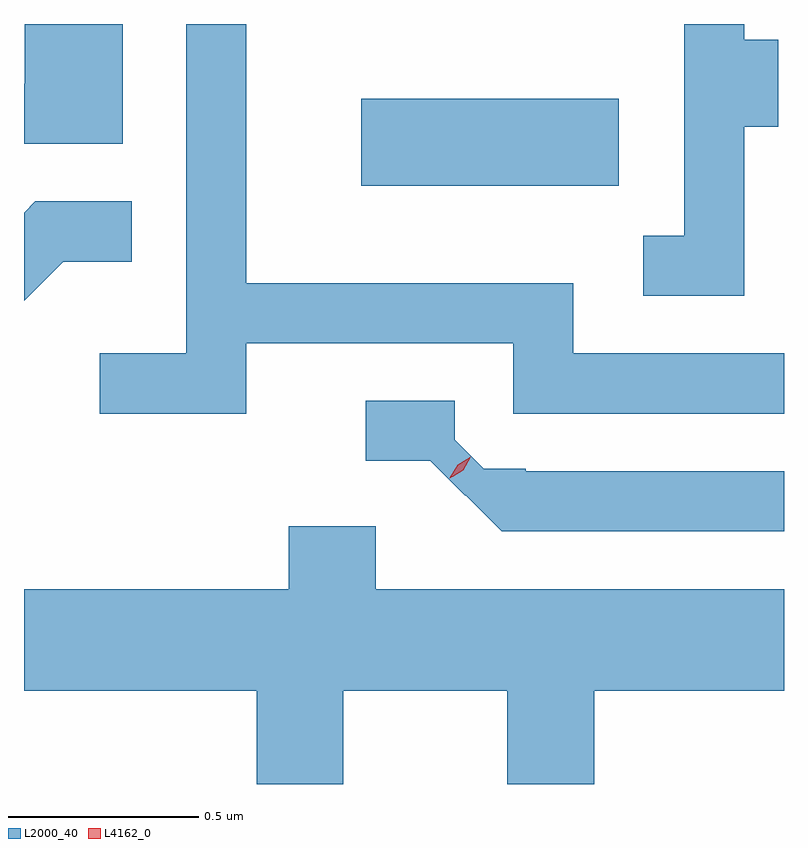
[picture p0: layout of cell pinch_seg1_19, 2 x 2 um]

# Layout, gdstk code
import gdstk
lib = gdstk.Library(unit=1e-6, precision=1e-09)
def R(c, l, rs):  # rectangles x0, y0, x1, y1
    for r in rs: c.add(gdstk.rectangle(r[:2], r[2:], *l))
def P(c, l, *ps):  # polygons
    for p in ps: c.add(gdstk.Polygon(p, *l))
L2000_40 = (2000, 40)
L4162_0 = (4162, 0)

pinch_seg1_19 = lib.new_cell('pinch_seg1_19')
R(pinch_seg1_19, L2000_40, [(1811.961,876.486,1812.639,876.714)])
P(pinch_seg1_19, L2000_40, [(1811.659,876.071),(1812.361,876.071),(1812.361,875.886),(1813.074,875.886),(1813.074,876.044),(1812.519,876.044),(1812.519,876.229),(1811.659,876.229),(1811.659,876.911),(1811.501,876.911),(1811.501,876.044),(1811.273,876.044),(1811.273,875.886),(1811.659,875.886)],
  [(1812.969,876.641),(1813.059,876.641),(1813.059,876.869),(1812.969,876.869),(1812.969,876.911),(1812.811,876.911),(1812.811,876.354),(1812.703,876.354),(1812.703,876.196),(1812.969,876.196)],
  [(1811.334,876.911),(1811.076,876.911),(1811.076,876.754),(1811.074,876.754),(1811.074,876.596),(1811.334,876.596)],
  [(1811.177,876.286),(1811.358,876.286),(1811.358,876.444),(1811.104,876.444),(1811.074,876.414),(1811.074,876.183)],
  [(1813.074,875.734),(1812.395,875.734),(1812.395,875.741),(1812.284,875.741),(1812.208,875.817),(1812.208,875.919),(1811.973,875.919),(1811.973,875.762),(1812.143,875.762),(1812.235,875.67),(1812.236,875.671),(1812.331,875.576),(1813.074,875.576)],
  [(1811.914,875.156),(1812.346,875.156),(1812.346,874.911),(1812.574,874.911),(1812.574,875.156),(1813.074,875.156),(1813.074,875.424),(1811.999,875.424),(1811.999,875.589),(1811.771,875.589),(1811.771,875.424),(1811.074,875.424),(1811.074,875.156),(1811.686,875.156),(1811.686,874.911),(1811.914,874.911)])
P(pinch_seg1_19, L4162_0, [(1812.194,875.716),(1812.194,875.717),(1812.215,875.751),(1812.25,875.772),(1812.25,875.772),(1812.25,875.772),(1812.23,875.737),(1812.195,875.716)],
  [(1812.201,875.72),(1812.201,875.721),(1812.216,875.751),(1812.245,875.767),(1812.246,875.767),(1812.246,875.766),(1812.23,875.737),(1812.202,875.72)])

lib.write_gds('pinch_seg1_19.gds')
